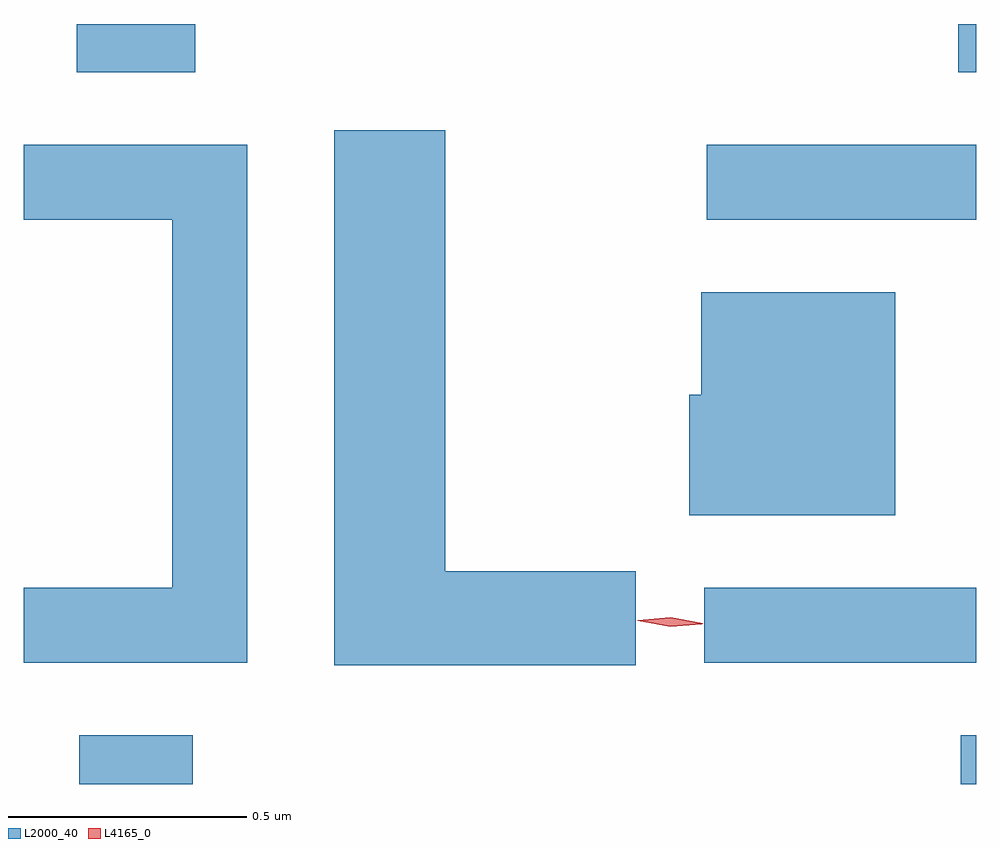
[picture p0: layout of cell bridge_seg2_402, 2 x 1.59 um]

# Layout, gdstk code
import gdstk
lib = gdstk.Library(unit=1e-6, precision=1e-09)
def R(c, l, rs):  # rectangles x0, y0, x1, y1
    for r in rs: c.add(gdstk.rectangle(r[:2], r[2:], *l))
def P(c, l, *ps):  # polygons
    for p in ps: c.add(gdstk.Polygon(p, *l))
L2000_40 = (2000, 40)
L4165_0 = (4165, 0)

bridge_seg2_402 = lib.new_cell('bridge_seg2_402')
R(bridge_seg2_402, L2000_40, [(597.306,977.802,597.544,977.904), (599.156,977.802,599.189,977.904), (598.618,978.056,599.189,978.214), (598.623,978.986,599.189,979.144), (597.301,979.296,597.549,979.397), (599.151,979.296,599.189,979.397)])
P(bridge_seg2_402, L2000_40, [(598.474,978.249),(598.074,978.249),(598.074,979.174),(597.841,979.174),(597.841,978.051),(598.474,978.051)],
  [(597.659,979.144),(597.189,979.144),(597.189,978.986),(597.501,978.986),(597.501,978.214),(597.189,978.214),(597.189,978.056),(597.659,978.056)],
  [(599.019,978.834),(598.611,978.834),(598.611,978.619),(598.586,978.619),(598.586,978.366),(599.019,978.366)])
P(bridge_seg2_402, L4165_0, [(598.546,978.132),(598.481,978.145),(598.481,978.145),(598.481,978.146),(598.547,978.152),(598.612,978.138),(598.612,978.138),(598.612,978.137)],
  [(598.546,978.132),(598.478,978.145),(598.478,978.145),(598.478,978.146),(598.547,978.152),(598.615,978.139),(598.615,978.139),(598.615,978.138)])

lib.write_gds('bridge_seg2_402.gds')
